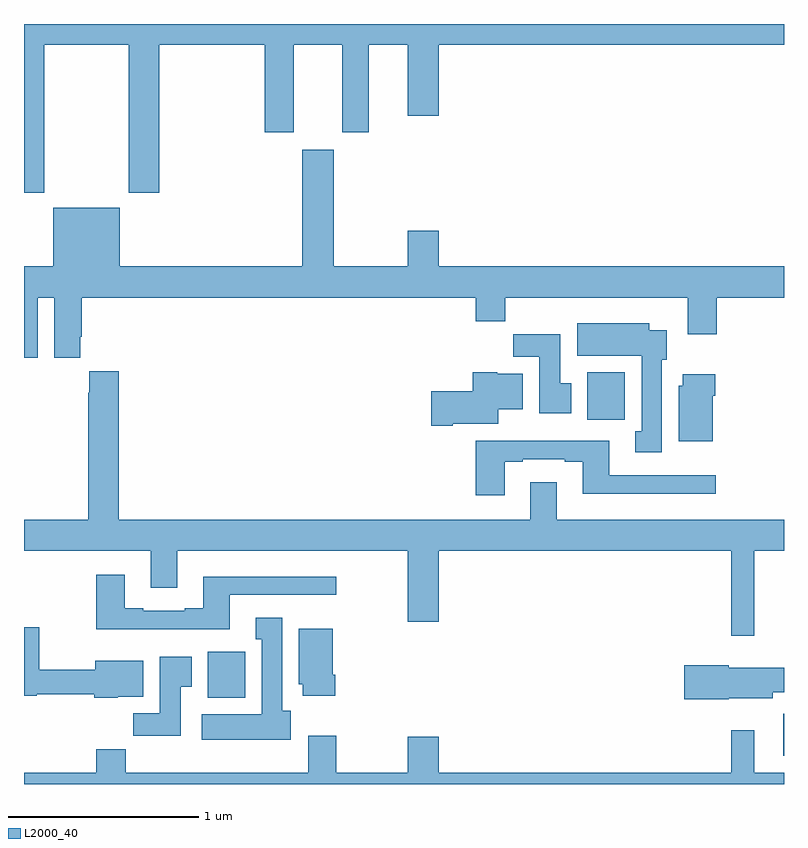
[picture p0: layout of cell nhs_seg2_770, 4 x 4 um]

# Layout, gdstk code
import gdstk
lib = gdstk.Library(unit=1e-6, precision=1e-09)
def R(c, l, rs):  # rectangles x0, y0, x1, y1
    for r in rs: c.add(gdstk.rectangle(r[:2], r[2:], *l))
def P(c, l, *ps):  # polygons
    for p in ps: c.add(gdstk.Polygon(p, *l))
L2000_40 = (2000, 40)

nhs_seg2_770 = lib.new_cell('nhs_seg2_770')
R(nhs_seg2_770, L2000_40, [(154.997,587.949,155,588.169), (151.967,588.254,152.164,588.496), (153.965,589.716,154.161,589.966)])
P(nhs_seg2_770, L2000_40, [(151.107,591.692),(151.552,591.692),(151.552,590.913),(151.712,590.913),(151.712,591.692),(152.267,591.692),(152.267,591.231),(152.419,591.231),(152.419,591.692),(152.675,591.692),(152.675,591.231),(152.815,591.231),(152.815,591.692),(153.02,591.692),(153.02,591.318),(153.184,591.318),(153.184,591.692),(155,591.692),(155,591.8),(151,591.8),(151,590.913),(151.107,590.913)],
  [(151.072,590.36),(151.16,590.36),(151.16,590.043),(151.297,590.043),(151.297,590.155),(151.304,590.155),(151.304,590.36),(153.377,590.36),(153.377,590.236),(153.533,590.236),(153.533,590.36),(154.493,590.36),(154.493,590.166),(154.646,590.166),(154.646,590.36),(155,590.36),(155,590.524),(153.184,590.524),(153.184,590.713),(153.02,590.713),(153.02,590.524),(152.629,590.524),(152.629,591.139),(152.465,591.139),(152.465,590.524),(151.504,590.524),(151.504,590.833),(151.154,590.833),(151.154,590.524),(151,590.524),(151,590.043),(151.072,590.043)],
  [(154.357,590.034),(154.384,590.034),(154.384,590.188),(154.291,590.188),(154.291,590.224),(153.911,590.224),(153.911,590.054),(154.25,590.054),(154.25,589.657),(154.217,589.657),(154.217,589.545),(154.357,589.545)],
  [(153.88,589.908),(153.823,589.908),(153.823,590.166),(153.574,590.166),(153.574,590.048),(153.713,590.048),(153.713,589.752),(153.88,589.752)],
  [(154.843,589.028),(155,589.028),(155,589.192),(153.805,589.192),(153.805,589.387),(153.665,589.387),(153.665,589.192),(151.499,589.192),(151.499,589.972),(151.343,589.972),(151.343,589.859),(151.339,589.859),(151.339,589.192),(151,589.192),(151,589.028),(151.667,589.028),(151.667,588.834),(151.807,588.834),(151.807,589.028),(153.02,589.028),(153.02,588.654),(153.184,588.654),(153.184,589.028),(154.722,589.028),(154.722,588.579),(154.843,588.579)],
  [(153.256,589.697),(153.496,589.697),(153.496,589.772),(153.625,589.772),(153.625,589.96),(153.492,589.96),(153.492,589.966),(153.362,589.966),(153.362,589.868),(153.144,589.868),(153.144,589.685),(153.256,589.685)],
  [(154.624,589.844),(154.637,589.844),(154.637,589.957),(154.466,589.957),(154.466,589.896),(154.445,589.896),(154.445,589.604),(154.624,589.604)],
  [(153.529,589.497),(153.625,589.497),(153.625,589.509),(153.845,589.509),(153.845,589.497),(153.941,589.497),(153.941,589.328),(154.642,589.328),(154.642,589.425),(154.081,589.425),(154.081,589.606),(153.377,589.606),(153.377,589.32),(153.529,589.32)],
  [(152.083,588.795),(152.644,588.795),(152.644,588.892),(151.943,588.892),(151.943,588.724),(151.847,588.724),(151.847,588.711),(151.627,588.711),(151.627,588.724),(151.531,588.724),(151.531,588.901),(151.379,588.901),(151.379,588.614),(152.083,588.614)],
  [(152.404,588.186),(152.359,588.186),(152.359,588.676),(152.219,588.676),(152.219,588.563),(152.252,588.563),(152.252,588.166),(151.935,588.166),(151.935,588.032),(152.404,588.032)],
  [(151.494,588.26),(151.627,588.26),(151.627,588.448),(151.376,588.448),(151.376,588.401),(151.08,588.401),(151.08,588.625),(151,588.625),(151,588.265),(151.068,588.265),(151.068,588.273),(151.369,588.273),(151.369,588.254),(151.494,588.254)],
  [(152.639,588.376),(152.626,588.376),(152.626,588.616),(152.447,588.616),(152.447,588.324),(152.468,588.324),(152.468,588.264),(152.639,588.264)],
  [(151.825,588.313),(151.882,588.313),(151.882,588.469),(151.715,588.469),(151.715,588.172),(151.576,588.172),(151.576,588.054),(151.825,588.054)],
  [(154.71,588.251),(154.942,588.251),(154.942,588.283),(155,588.283),(155,588.412),(154.71,588.412),(154.71,588.425),(154.476,588.425),(154.476,588.247),(154.71,588.247)],
  [(153.184,588.049),(153.02,588.049),(153.02,587.86),(152.643,587.86),(152.643,588.055),(152.495,588.055),(152.495,587.86),(151.535,587.86),(151.535,587.984),(151.379,587.984),(151.379,587.86),(151,587.86),(151,587.8),(155,587.8),(155,587.86),(154.843,587.86),(154.843,588.082),(154.722,588.082),(154.722,587.86),(153.184,587.86)])

lib.write_gds('nhs_seg2_770.gds')
